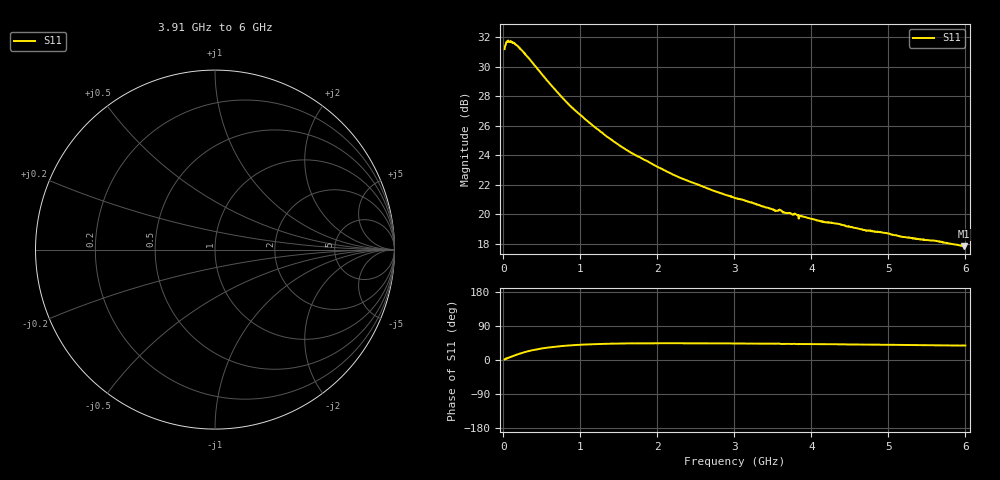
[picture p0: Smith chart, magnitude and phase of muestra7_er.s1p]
! NanoVNA-UTN-Toolkit permittivity export -- NOT S-parameters
! ES: Permitividad relativa compleja de la muestra. NO es S11: se guarda en
! ES: formato Touchstone solo para poder graficarla con visores de .s1p.
! EN: Complex relative permittivity of the sample. NOT S11: the Touchstone
! EN: format is used only so that .s1p viewers can plot it.
! Columns / Columnas: f (Hz) | eps' | eps'' (loss >= 0); eps_r = eps' - j*eps''
! Sample / Muestra: muestra7
! Technique / Tecnica: Open-ended coaxial probe (liquids)
! References / Referencias: water + ipa
! Probe / Sonda: 3 mm probe (C0 0.019 pF)
! Temperature / Temperatura: 23.0 °C
! Reliable from 45 MHz: points below are not reliable / Confiable desde 45 MHz: los puntos inferiores no son confiables
! Spike removal replaced 1 isolated S11 point(s) before solving / La remocion de picos reemplazo 1 punto(s) aislado(s) de S11
! 2 point(s) without a solution omitted / 2 punto(s) sin solucion omitidos
! Exported / Exportado: 2026-10-24T12:21:58
# Hz S RI R 50
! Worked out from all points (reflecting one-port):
!   1198 points, 15 MHz to 6 GHz, reference 50 ohm
!   lowest |S11| = 17.8 dB at 5.985 GHz (marker M1)
!   phase of S11 starts at 1 deg and turns +37 deg over the sweep
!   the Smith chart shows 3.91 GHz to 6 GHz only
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1.5e7  36.3 0.8098
3e7  37.47 2.346
4.5e7  38.45 3.187
6e7  38.68 3.639
8.5e7  38.16 5.169
1.2e8  37.49 6.701
1.65e8  36.5 8.785
2.25e8  34.55 10.92
2.7e8  32.95 12.28
3.3e8  30.94 13.51
4.05e8  28.47 14.58
4.9e8  25.96 15.14
6.2e8  22.75 15.26
7.65e8  19.86 14.96
8.9e8  17.94 14.46
1.085e9  15.65 13.66
1.305e9  13.77 12.66
1.515e9  12.39 11.78
1.76e9  11.26 10.88
2.26e9  9.591 9.402
3.01e9  8.237 7.821
3.55e9  7.505 7.029
3.61e9  7.611 6.939
3.76e9  7.344 6.744
4.505e9  6.862 5.933
5.255e9  6.424 5.317
5.985e9  6.127 4.831
6e9  6.148 4.827
